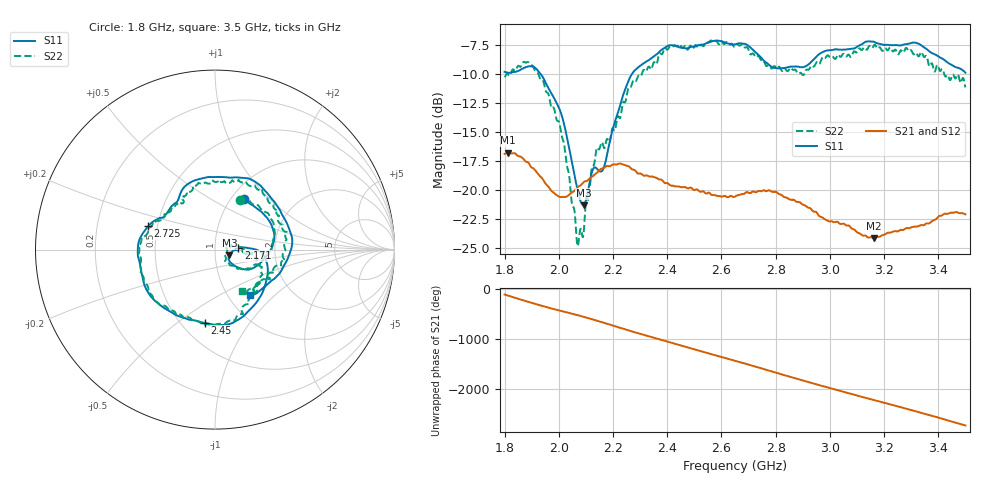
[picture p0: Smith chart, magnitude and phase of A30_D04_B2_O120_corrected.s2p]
! Created with skrf 1.9.0 (http://scikit-rf.org).
# Hz S RI R 50.0
!freq ReS11 ImS11 ReS21 ImS21 ReS12 ImS12 ReS22 ImS22
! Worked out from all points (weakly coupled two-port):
!   1601 points, 1.8 GHz to 3.5 GHz, reference 50 ohm
!   highest |S21| = -16.75 dB at 1.812 GHz (marker M1); lowest = -24.1 dB at 3.163 GHz (marker M2)
!   lowest |S11| = -21.3 dB at 2.091 GHz (marker M3), VSWR 1.19, Z = 58.6 - j3.71 ohm
!   |S11| at or under -10 dB: 1.934 GHz to 2.269 GHz (334.5 MHz wide, 15.9 % of centre)
!   |S22| runs from -24.8 to -7.1 dB; largest |S21 - S12| = 0.0023
!   S11 on the Smith chart (normalised r, x): 1.8 GHz: 1.15, +0.72; 2.171 GHz: 1.30, +0.03; 2.45 GHz: 0.65, -0.64; 2.725 GHz: 0.44, +0.14; 3.5 GHz: 1.26, -0.72
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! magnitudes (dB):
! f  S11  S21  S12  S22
! 1.8 GHz  -9.8  -16.9  -16.8  -10.2
! 1.812 GHz  -9.9  -16.8  -16.7  -10.0
! 1.883 GHz  -9.3  -17.6  -17.6  -8.9
! 1.942 GHz  -10.3  -19.1  -19.1  -10.6
! 2.01 GHz  -13.5  -20.6  -20.6  -15.3
! 2.067 GHz  -19.7  -19.8  -19.8  -24.5
! 2.084 GHz  -21.1  -19.5  -19.5  -23.5
! 2.091 GHz  -21.3  -19.3  -19.4  -23.8
! 2.131 GHz  -18.0  -18.7  -18.6  -17.6
! 2.171 GHz  -17.7  -18.0  -18.0  -16.2
! 2.262 GHz  -10.3  -18.0  -18.0  -11.1
! 2.367 GHz  -8.1  -19.0  -19.0  -8.5
! 2.45 GHz  -7.7  -19.7  -19.7  -7.5
! 2.65 GHz  -7.4  -20.5  -20.5  -7.6
! 2.725 GHz  -8.1  -20.2  -20.1  -8.5
! 2.8 GHz  -9.4  -20.1  -20.1  -9.4
! 2.898 GHz  -9.4  -21.2  -21.2  -10.0
! 2.934 GHz  -8.9  -21.7  -21.7  -9.2
! 3.163 GHz  -7.2  -24.1  -24.1  -7.5
! 3.217 GHz  -7.5  -23.7  -23.6  -7.8
! 3.324 GHz  -7.3  -23.1  -23.1  -8.3
! 3.5 GHz  -9.8  -22.1  -22.1  -11.1
